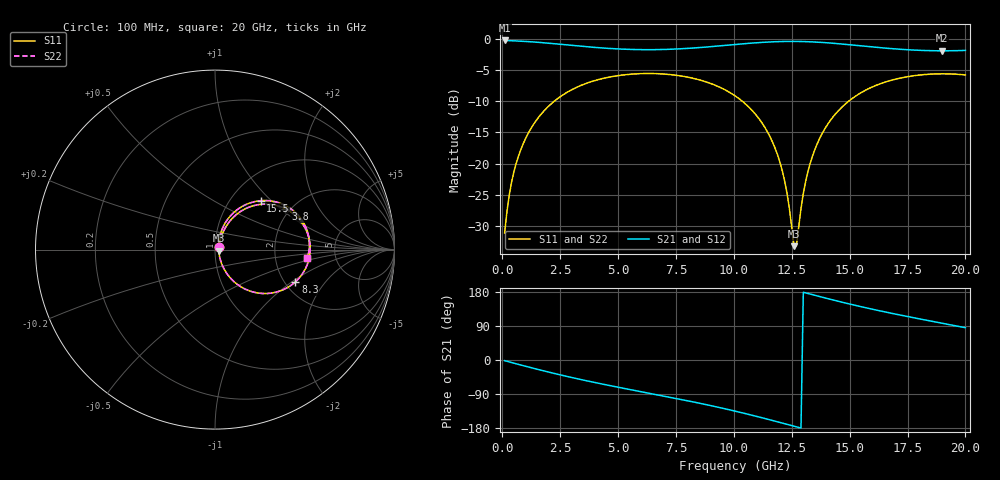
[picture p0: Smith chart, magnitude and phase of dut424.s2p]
! Touchstone file exported from HFSS 2026.1.0
!  File:  C:/ffzhzh/LocalFiles/Ansys_Project_Files/temp_train_TSV_RDL_424_1783096167_53076.aedt
!  Generated:  12:42:33 AM Jul  4, 2026
!  Design:  TSV_RDL
!  Project:  temp_train_TSV_RDL_424_1783096167_53076
! Variables:
!  h_bsmrdl = 4um
!  h_ox = 20um
!  h_rdl = 5um
!  h_sub = 61.39um
!  h_tmrdl = 2.26um
!  h_tsv = 61.39um
!  h_via = 3um
!  l_bsmrdl = 494.63um
!  l_sub = 4859.28um
!  l_tmrdl = 702.56um
!  m_sub = 200um
!  pitch = 58.96um
!  r_tsv = 13.74um
!  s_tmrdl = 10um
!  w_bsmrdl = 27.18um
!  w_sub = 500um
!  w_tmrdl = 27.87um
!  x_tsv_center1 = 716.495um
!  x_tsv_center2 = 1238.305um
!  x_tsv_center3 = 1968.735um
!  x_tsv_center4 = 2490.545um
!  x_tsv_center5 = 3220.975um
!  x_tsv_center6 = 3742.785um
# GHz S MA R 50.000000
! Terminal data exported
! Port[1] = TM_RDL1_1_T1
! Port[2] = TM_RDL5_1_T1
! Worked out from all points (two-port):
!   200 points, 100 MHz to 20 GHz, reference 50 ohm
!   highest |S21| = -0.19 dB at 100 MHz (marker M1); lowest = -1.9 dB at 19 GHz (marker M2)
!   |S21| within 3 dB of the highest: start of sweep to end of sweep
!   lowest |S11| = -33.3 dB at 12.6 GHz (marker M3), VSWR 1.04, Z = 52.1 - j0.654 ohm
!   |S11| at or under -10 dB: start of sweep to 2.234 GHz; 10.38 GHz to 14.95 GHz (4.572 GHz wide, 36.1 % of centre)
!   |S22| runs from -33.3 to -5.5 dB; largest |S21 - S12| = 1.8e-14
!   S11 on the Smith chart (normalised r, x): 100 MHz: 1.04, +0.03; 3.8 GHz: 1.89, +1.08; 8.3 GHz: 2.27, -1.07; 15.5 GHz: 1.36, +0.86; 20 GHz: 3.08, -0.39
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0.1  0.02759 37.3  0.9784 -1.7  0.9784 -1.7  0.02759 37.3
! Gamma 0 0 0 0
! Port Impedance 50 0 50 0
0.3  0.05575 60.1  0.9753 -5.1  0.9753 -5.1  0.05575 60.1
0.5  0.08561 64.5  0.9715 -8.4  0.9715 -8.4  0.08561 64.5
1.1  0.1722 62.9  0.9582 -18.0  0.9582 -18.0  0.1722 62.9
2.1  0.3011 51.5  0.9265 -33.4  0.9265 -33.4  0.3011 51.5
3.5  0.4328 33.8  0.8757 -53.0  0.8757 -53.0  0.4329 33.8
3.8  0.4533 30.1  0.866 -56.9  0.866 -56.9  0.4533 30.1
6.8  0.5276 -4.5  0.8265 -93.1  0.8265 -93.1  0.5276 -4.5
8.3  0.4825 -21.9  0.8517 -111.3  0.8517 -111.3  0.4826 -21.9
10.1  0.3459 -44.6  0.9094 -135.6  0.9094 -135.6  0.346 -44.6
11.1  0.2277 -57.5  0.9411 -150.6  0.9411 -150.6  0.2278 -57.6
11.8  0.1302 -64.5  0.956 -161.7  0.956 -161.7  0.1303 -64.6
12.2  0.0717 -63.4  0.9604 -168.2  0.9604 -168.2  0.07177 -63.5
12.6  0.02164 -16.8  0.9613 -174.7  0.9613 -174.7  0.02168 -17.0
12.7  0.02167 23.1  0.961 -176.3  0.961 -176.3  0.02167 22.9
13  0.05729 66.7  0.9587 178.8  0.9587 178.8  0.05723 66.6
13.4  0.1154 71.0  0.9526 172.3  0.9526 172.3  0.1153 70.9
14.2  0.2264 63.6  0.9317 159.7  0.9317 159.7  0.2264 63.6
15.5  0.3723 47.0  0.885 140.6  0.885 140.6  0.3723 47.0
16.7  0.4624 32.2  0.8439 124.6  0.8439 124.6  0.4623 32.2
19  0.5275 6.0  0.8076 97.0  0.8076 97.0  0.5275 6.0
20  0.5164 -5.1  0.8138 85.2  0.8138 85.2  0.5164 -5.2
